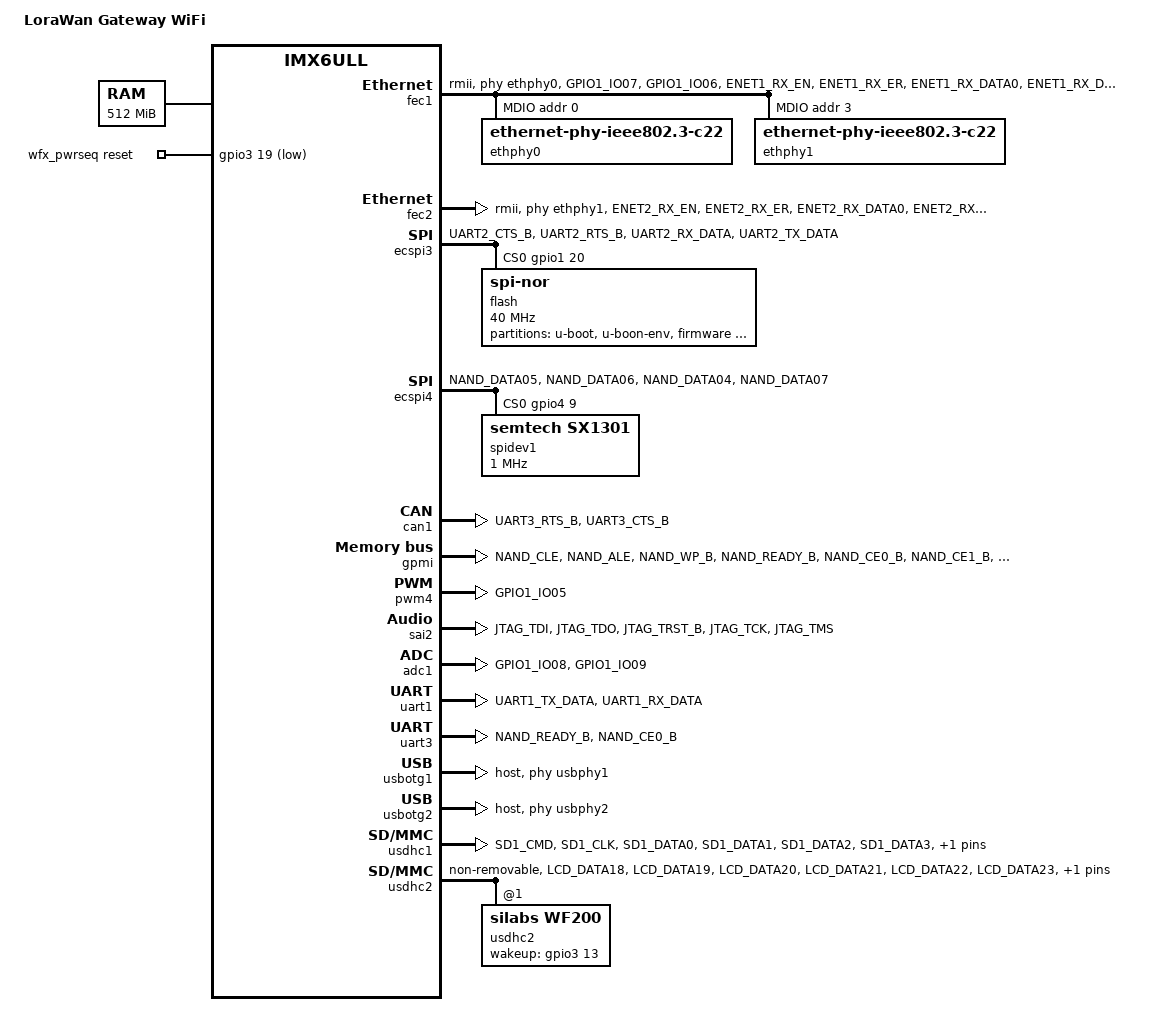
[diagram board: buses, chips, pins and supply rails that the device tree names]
/*
 * Copyright (C) 2016 Freescale Semiconductor, Inc.
 *
 * This program is free software; you can redistribute it and/or modify
 * it under the terms of the GNU General Public License version 2 as
 * published by the Free Software Foundation.
 */

/dts-v1/;

#include <dt-bindings/input/input.h>
#include "imx6ull.dtsi"

/ {
	model = "LoraWan Gateway WiFi";
	compatible = "wirelessroad,gw-imx6ull", "fsl,imx6ull";

	chosen {
		stdout-path = &uart1;
		bootargs = "console=ttymxc0,115200 rootwait fixrtc quiet";
	};

	memory {
		reg = <0x80000000 0x20000000>;
	};

	aliases {
		cpu0 = &cpu0;
		can1 = &can1;
		can2 = &can2;
		clks = &clks;
		fec1 = &fec1;
		fec2 = &fec2;
		ecspi3 = &ecspi3;
		ecspi4 = &ecspi4;
		gpc = &gpc;
		gpmi = &gpmi;
		iomuxc = &iomuxc;
		pwm4 = &pwm4;
		adc1 = &adc1;
		usbotg1 = &usbotg1;
		usbotg2 = &usbotg2;
		usdhc1 = &usdhc1;
		usdhc2 = &usdhc2;
		wdog1 = &wdog1;
	};
	
	soc {
		aips3: aips-bus@02200000 {
			compatible = "fsl,aips-bus", "simple-bus";
			#address-cells = <1>;
			#size-cells = <1>;
			reg = <0x02200000 0x100000>;
			ranges;

			dcp: dcp@02280000 {
				compatible = "fsl,imx6sl-dcp";
				reg = <0x02280000 0x4000>;
				interrupts = <GIC_SPI 46 IRQ_TYPE_LEVEL_HIGH>,
					     <GIC_SPI 47 IRQ_TYPE_LEVEL_HIGH>,
					     <GIC_SPI 48 IRQ_TYPE_LEVEL_HIGH>;
				clocks = <&clks IMX6ULL_CLK_DCP_CLK>;
				clock-names = "dcp";
			};

			rngb: rngb@02284000 {
				compatible = "fsl,imx6sl-rng", "fsl,imx-rng", "imx-rng";
				reg = <0x02284000 0x4000>;
				interrupts = <GIC_SPI 6 IRQ_TYPE_LEVEL_HIGH>;
				clocks =  <&clks IMX6UL_CLK_DUMMY>;
			};

			iomuxc_snvs: iomuxc-snvs@02290000 {
				compatible = "fsl,imx6ull-iomuxc-snvs";
				reg = <0x02290000 0x10000>;
				pinctrl-names = "default_snvs";
			};

			wfx_pwrseq: wfx_pwrseq {
				compatible = "mmc-pwrseq-simple";
				pinctrl-names = "default";
				pinctrl-0 = <&pinctrl_wfx_reset>;
				reset-gpios = <&gpio3 19 GPIO_ACTIVE_LOW>;
			};

		};
	};
};

&cpu0 {
	operating-points = <
		/* kHz  uV */
		900000  1275000
		792000  1225000
		528000  1175000
		396000  1025000
		198000  950000
	>;
	fsl,soc-operating-points = <
		/* KHz  uV */
		900000  1250000
		792000  1175000
		528000  1175000
		396000  1175000
		198000  1175000
	>;
};

&clks {
	assigned-clocks = <&clks IMX6UL_CLK_PLL4_AUDIO_DIV>;
	assigned-clock-rates = <786432000>;
};

&fec1 {
	pinctrl-names = "default";
	pinctrl-0 = <&pinctrl_enet1>;
	phy-mode = "rmii";
	phy-handle = <&ethphy0>;
	phy-reset-gpios = <&gpio3 18 GPIO_ACTIVE_LOW>;
	phy-reset-duration = <10>;
	phy-reset-post-delay = <50>;
	status = "okay";
	mdio {
		#address-cells = <1>;
		#size-cells = <0>;

		ethphy0: ethernet-phy@0 {
			compatible = "ethernet-phy-ieee802.3-c22";
			reg = <0>;
			clocks = <&clks IMX6UL_CLK_ENET_REF>;
			clock-names = "rmii-ref";
		};

		ethphy1: ethernet-phy@3 {
			compatible = "ethernet-phy-ieee802.3-c22";
			reg = <3>;
			clocks = <&clks IMX6UL_CLK_ENET2_REF>;
			clock-names = "rmii-ref";
		};
	};
};

&fec2 {
        pinctrl-names = "default";
        pinctrl-0 = <&pinctrl_enet2>;
        phy-mode = "rmii";
        phy-handle = <&ethphy1>;
        phy-reset-gpios = <&gpio3 5 GPIO_ACTIVE_LOW>;
        phy-reset-duration = <10>;
        phy-reset-post-delay = <50>;
        status = "okay";
};

&ecspi3 {
	fsl,spi-num-chipselects = <1>;
	cs-gpios = <&gpio1 20 0>;
	pinctrl-names = "default";
	pinctrl-0 = <&pinctrl_ecspi3_0>;
	status = "okay";
	dma-names = "rx", "tx";
	dmas = <&sdma 7 7 1>, <&sdma 8 7 2>;

	flash@0 {
		#address-cells = <1>;
		#size-cells = <1>;
		status = "okay";
		compatible = "jedec,spi-nor";
		spi-max-frequency = <40000000>;
		reg = <0>;

		partition@0 {
			label = "u-boot";
			reg = <0x000000 0x0c0000>;
		};
		partition@1 {
			label = "u-boon-env";
			reg = <0x0c0000 0x040000>;
		};
		partition@2 {
			label = "firmware";
			reg = <0x100000 0xf00000>;
		};
		partition@3 {
			label = "factory";
			reg = <0x000000 0x1000000>;
		};

	};
};

&ecspi4 {
	fsl,spi-num-chipselects = <1>;
	cs-gpios = <&gpio4 9 0>;
	pinctrl-names = "default";
	pinctrl-0 = <&pinctrl_ecspi4_0>;
	status = "okay"; 

	dma-names = "rx", "tx";
	dmas = <&sdma 9 7 1>, <&sdma 10 7 2>;

	spidev1: spidev@1 {
		status = "okay";
		compatible = "semtech,sx1301";
		spi-max-frequency = <1000000>;
		reg = <0>;
	};
};


&can1 {
	pinctrl-names = "default";
	pinctrl-0 = <&pinctrl_flexcan0>;
	status = "okay";
};


&gpc {
	fsl,cpu_pupscr_sw2iso = <0x1>;
	fsl,cpu_pupscr_sw = <0x0>;
	fsl,cpu_pdnscr_iso2sw = <0x1>;
	fsl,cpu_pdnscr_iso = <0x1>;
	fsl,ldo-bypass = <0>; /* DCDC, ldo-enable */
};

&gpmi {
	pinctrl-names = "default";
	pinctrl-0 = <&pinctrl_gpmi_nand_1>;
	status = "okay";
	nand-on-flash-bbt;
	fsl,legacy-bch-geometry;
};

&iomuxc {
	pinctrl-names = "default";
	pinctrl-0 = <&pinctrl_hog_1>;
	imx6ul-evk {
		pinctrl_hog_1: hoggrp-1 {
			fsl,pins = <
				MX6UL_PAD_UART1_RTS_B__GPIO1_IO19	0x17059 /* SD1 CD */
			>;
		};

		pinctrl_gpmi_nand_1: gpmi-nand-1 {
			fsl,pins = <
				MX6UL_PAD_NAND_CLE__RAWNAND_CLE         0xb0b1
				MX6UL_PAD_NAND_ALE__RAWNAND_ALE         0xb0b1
				MX6UL_PAD_NAND_WP_B__RAWNAND_WP_B       0xb0b1
				MX6UL_PAD_NAND_READY_B__RAWNAND_READY_B 0xb000
				MX6UL_PAD_NAND_CE0_B__RAWNAND_CE0_B     0xb0b1
				MX6UL_PAD_NAND_CE1_B__RAWNAND_CE1_B     0xb0b1
				MX6UL_PAD_NAND_RE_B__RAWNAND_RE_B       0xb0b1
				MX6UL_PAD_NAND_WE_B__RAWNAND_WE_B       0xb0b1
				MX6UL_PAD_NAND_DATA00__RAWNAND_DATA00   0xb0b1
				MX6UL_PAD_NAND_DATA01__RAWNAND_DATA01   0xb0b1
				MX6UL_PAD_NAND_DATA02__RAWNAND_DATA02   0xb0b1
				MX6UL_PAD_NAND_DATA03__RAWNAND_DATA03   0xb0b1
				MX6UL_PAD_NAND_DATA04__RAWNAND_DATA04   0xb0b1
				MX6UL_PAD_NAND_DATA05__RAWNAND_DATA05   0xb0b1
				MX6UL_PAD_NAND_DATA06__RAWNAND_DATA06   0xb0b1
				MX6UL_PAD_NAND_DATA07__RAWNAND_DATA07   0xb0b1
			>;
		};
		
		pinctrl_adc1: adc1grp {
			fsl,pins = <
				MX6UL_PAD_GPIO1_IO08__GPIO1_IO08        0xb0
				MX6UL_PAD_GPIO1_IO09__GPIO1_IO09        0xb0
			>;
		};

		pinctrl_ecspi3_0: ecspi3grp-0 {
			fsl,pins = <
				MX6UL_PAD_UART2_CTS_B__ECSPI3_MOSI      0x110b1
				MX6UL_PAD_UART2_RTS_B__ECSPI3_MISO      0x110b1
				MX6UL_PAD_UART2_RX_DATA__ECSPI3_SCLK    0x110b1
				MX6UL_PAD_UART2_TX_DATA__GPIO1_IO20     0x10b0
			>;
		};

		pinctrl_ecspi4_0: ecspi2grp-0 {
			fsl,pins = <
				MX6UL_PAD_NAND_DATA05__ECSPI4_MOSI 0x110b1 //0x100b1
				MX6UL_PAD_NAND_DATA06__ECSPI4_MISO 0x110b1 //0x100b1
				MX6UL_PAD_NAND_DATA04__ECSPI4_SCLK 0x110b1 //0x100b1
				MX6UL_PAD_NAND_DATA07__GPIO4_IO09 0x10b0
			>;
		};

		pinctrl_usb_otg1_id: usbotg1idgrp {
			fsl,pins = <
				MX6UL_PAD_GPIO1_IO00__ANATOP_OTG1_ID	0x17059
			>;
		};
		
		pinctrl_enet1: enet1grp {
			fsl,pins = <
				MX6UL_PAD_GPIO1_IO07__ENET1_MDC         0x1b0b0
				MX6UL_PAD_GPIO1_IO06__ENET1_MDIO	0x1b0b0
				MX6UL_PAD_ENET1_RX_EN__ENET1_RX_EN	0x1b0b0
				MX6UL_PAD_ENET1_RX_ER__ENET1_RX_ER	0x1b0b0
				MX6UL_PAD_ENET1_RX_DATA0__ENET1_RDATA00	0x1b0b0
				MX6UL_PAD_ENET1_RX_DATA1__ENET1_RDATA01	0x1b0b0
				MX6UL_PAD_ENET1_TX_EN__ENET1_TX_EN	0x1b0b0
				MX6UL_PAD_ENET1_TX_DATA0__ENET1_TDATA00	0x1b0b0
				MX6UL_PAD_ENET1_TX_DATA1__ENET1_TDATA01	0x1b0b0
				MX6UL_PAD_ENET1_TX_CLK__ENET1_REF_CLK1	0x4001b031
			>;
		};

                pinctrl_enet2: enet2grp {
                        fsl,pins = <
                                MX6UL_PAD_ENET2_RX_EN__ENET2_RX_EN      0x1b0b0
                                MX6UL_PAD_ENET2_RX_ER__ENET2_RX_ER      0x1b0b0
                                MX6UL_PAD_ENET2_RX_DATA0__ENET2_RDATA00 0x1b0b0
                                MX6UL_PAD_ENET2_RX_DATA1__ENET2_RDATA01 0x1b0b0
                                MX6UL_PAD_ENET2_TX_EN__ENET2_TX_EN      0x1b0b0
                                MX6UL_PAD_ENET2_TX_DATA0__ENET2_TDATA00 0x1b0b0
                                MX6UL_PAD_ENET2_TX_DATA1__ENET2_TDATA01 0x1b0b0
                                MX6UL_PAD_ENET2_TX_CLK__ENET2_REF_CLK2  0x4001b031
                        >;
                };

		pinctrl_flexcan0: flexcan0grp{
			fsl,pins = <
				MX6UL_PAD_UART3_RTS_B__FLEXCAN1_RX	0x1b020
				MX6UL_PAD_UART3_CTS_B__FLEXCAN1_TX	0x1b020
			>;
		};

		pinctrl_pwm4: pwm4grp {
			fsl,pins = <
				MX6UL_PAD_GPIO1_IO05__PWM4_OUT   0x110b0
			>;
		};


		pinctrl_sai2: sai2grp {
			fsl,pins = <
				MX6UL_PAD_JTAG_TDI__SAI2_TX_BCLK	0x17088
				MX6UL_PAD_JTAG_TDO__SAI2_TX_SYNC	0x17088
				MX6UL_PAD_JTAG_TRST_B__SAI2_TX_DATA	0x11088
				MX6UL_PAD_JTAG_TCK__SAI2_RX_DATA	0x11088
				MX6UL_PAD_JTAG_TMS__SAI2_MCLK		0x17088
			>;
		};

		pinctrl_uart1: uart1grp {
			fsl,pins = <
				MX6UL_PAD_UART1_TX_DATA__UART1_DCE_TX 0x1b0b1
				MX6UL_PAD_UART1_RX_DATA__UART1_DCE_RX 0x1b0b1
			>;
		};

		pinctrl_uart3: uart3grp {
			fsl,pins = <
				MX6UL_PAD_NAND_READY_B__UART3_DCE_TX 0x1b0b1
				MX6UL_PAD_NAND_CE0_B__UART3_DCE_RX 0x1b0b1
			>;
		};

		pinctrl_usdhc1: usdhc1grp {
			fsl,pins = <
				MX6UL_PAD_SD1_CMD__USDHC1_CMD     0x17059
				MX6UL_PAD_SD1_CLK__USDHC1_CLK     0x10071
				MX6UL_PAD_SD1_DATA0__USDHC1_DATA0 0x17059
				MX6UL_PAD_SD1_DATA1__USDHC1_DATA1 0x17059
				MX6UL_PAD_SD1_DATA2__USDHC1_DATA2 0x17059
				MX6UL_PAD_SD1_DATA3__USDHC1_DATA3 0x17059
			>;
		};

		pinctrl_usdhc1_100mhz: usdhc1grp100mhz {
			fsl,pins = <
				MX6UL_PAD_SD1_CMD__USDHC1_CMD     0x170b9
				MX6UL_PAD_SD1_CLK__USDHC1_CLK     0x100b9
				MX6UL_PAD_SD1_DATA0__USDHC1_DATA0 0x170b9
				MX6UL_PAD_SD1_DATA1__USDHC1_DATA1 0x170b9
				MX6UL_PAD_SD1_DATA2__USDHC1_DATA2 0x170b9
				MX6UL_PAD_SD1_DATA3__USDHC1_DATA3 0x170b9
			>;
		};

		pinctrl_usdhc1_200mhz: usdhc1grp200mhz {
			fsl,pins = <
				MX6UL_PAD_SD1_CMD__USDHC1_CMD     0x170f9
				MX6UL_PAD_SD1_CLK__USDHC1_CLK     0x100f9
				MX6UL_PAD_SD1_DATA0__USDHC1_DATA0 0x170f9
				MX6UL_PAD_SD1_DATA1__USDHC1_DATA1 0x170f9
				MX6UL_PAD_SD1_DATA2__USDHC1_DATA2 0x170f9
				MX6UL_PAD_SD1_DATA3__USDHC1_DATA3 0x170f9
			>;
		};
		
		pinctrl_usdhc2: usdhc2grp {
			fsl,pins = <
				MX6UL_PAD_LCD_DATA18__USDHC2_CMD        0x1b0b0
				MX6UL_PAD_LCD_DATA19__USDHC2_CLK        0x100b0
				MX6UL_PAD_LCD_DATA20__USDHC2_DATA0      0x1b0b0
				MX6UL_PAD_LCD_DATA21__USDHC2_DATA1      0x1b0b0
				MX6UL_PAD_LCD_DATA22__USDHC2_DATA2      0x1b0b0
				MX6UL_PAD_LCD_DATA23__USDHC2_DATA3      0x1b0b0
				/* W_IRQ */
				MX6UL_PAD_LCD_DATA06__GPIO3_IO11        0x1b0b0
			>;
		};

		pinctrl_wfx_reset: wfx_reset_grp {
			fsl,pins = <
				/* W_RESET */
				MX6UL_PAD_LCD_DATA14__GPIO3_IO19        0x1b0b0
			>;
		};

		pinctrl_wfx_wakeup: wfx_wakeup_grp {
			fsl,pins = <
				/* W_UP */
				MX6UL_PAD_LCD_DATA08__GPIO3_IO13        0x130b0
			>;
		};

		pinctrl_wdog: wdoggrp {
			fsl,pins = <
				MX6UL_PAD_LCD_RESET__WDOG1_WDOG_ANY    0x30b0
			>;
		};

	};
};

&pwm4 {
	pinctrl-names = "default";
	pinctrl-0 = <&pinctrl_pwm4>;
	status = "okay";
};


&sai2 {
	pinctrl-names = "default";
	pinctrl-0 = <&pinctrl_sai2>;

	assigned-clocks = <&clks IMX6UL_CLK_SAI2_SEL>,
			  <&clks IMX6UL_CLK_SAI2>;
	assigned-clock-parents = <&clks IMX6UL_CLK_PLL4_AUDIO_DIV>;
	assigned-clock-rates = <0>, <12288000>;

	status = "okay";
};

&adc1 {
	pinctrl-names = "default";
	pinctrl-0 = <&pinctrl_adc1>;
/*	vref-supply = <&reg_vref_3v3>; */
	status = "okay";
};

&uart1 {
	pinctrl-names = "default";
	pinctrl-0 = <&pinctrl_uart1>;
	status = "okay";
};

&uart3 {
	pinctrl-names = "default";
	pinctrl-0 = <&pinctrl_uart3>;
	status = "okay";
};

&usbotg1 {
	dr_mode = "host";
	disable-over-current;
	external-vbus-divider;
	phy_type = "utmi";
	phys = <&usbphy1>;
	phy-names = "usb-phy";
	maximum-speed;
	status = "okay";
};

&usbotg2 {
	dr_mode = "host";
	disable-over-current;
	external-vbus-divider;
	phy_type = "utmi";
	phys = <&usbphy2>;
	phy-names = "usb-phy";
	maximum-speed;
	status = "okay";
};

&usbphy1 {
	tx-d-cal = <0x5>;
};

&usbphy2 {
	tx-d-cal = <0x5>;
};

&usdhc1 {
	pinctrl-names = "default";
	pinctrl-0 = <&pinctrl_usdhc1>;
	cd-gpios = <&gpio1 19 GPIO_ACTIVE_LOW>;
	keep-power-in-suspend;
	enable-sdio-wakeup;
	status = "okay";
};

&usdhc2 {  /* Wifi SDIO */
	pinctrl-names = "default";
	pinctrl-0 = <&pinctrl_usdhc2>;
	no-1-8-v;
	non-removable;
	keep-power-in-suspend;
	wakeup-source;
	mmc-pwrseq = <&wfx_pwrseq>;
	status = "okay";
	usdhc2@1 {
		compatible = "silabs,wf200";
		reg = <1>;
		pinctrl-names = "default";
		pinctrl-0 = <&pinctrl_wfx_wakeup>;
		wakeup-gpios = <&gpio3 13 GPIO_ACTIVE_HIGH>;
	};
};

&wdog1 {
	pinctrl-names = "default";
	pinctrl-0 = <&pinctrl_wdog>;
	fsl,wdog_b;
};
